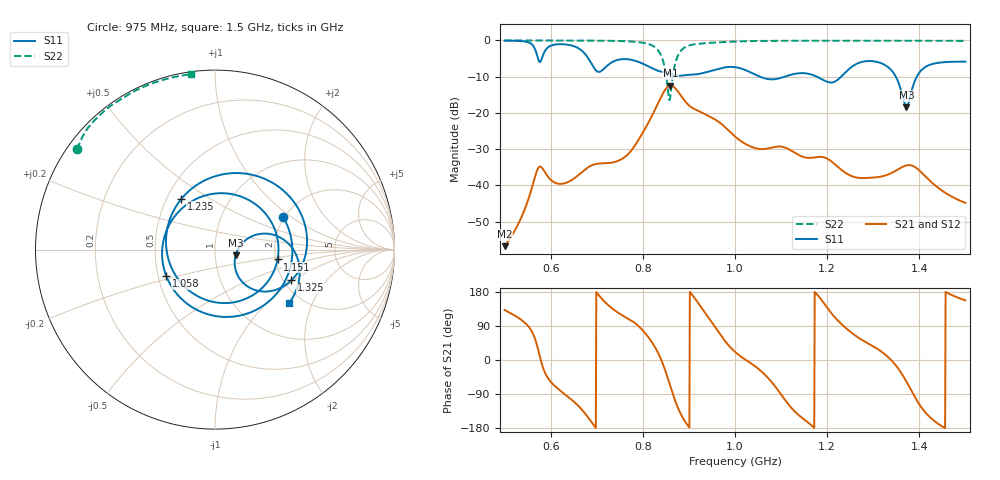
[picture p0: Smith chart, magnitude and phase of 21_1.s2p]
! TOUCHSTONE file generated by CST MICROWAVE STUDIO
! Date and time: Sat Nov 14 20:37:46 2020
! Project name: Scenario_1_Planar_Body_Tissue_Out_of_Line_v2.cst
! Parameters = {dy1=0; L_HA=400; Ltissue=700; MT=2.54; Rad_Dielectric=30; Rad_Lower=7.3; Rad_Upper=30; Wtissue=700; a_HA=580; a_WG=246; b_HA=500; b_WG=121; c_HA=0; c_WG=187; d_feed=85; dx1=173; h_feed=15; h_lower=18; h_upper=40; hfat=3; hgap=25; hmuscle=50; hskin=1.5}
! Header version: 2018
! Port assignment regex: !\s*Touchstone port\s*([0-9]+)\s*=\s*(CST MWS port|CST DS port)\s*([0-9]+|Zmin|Zmax)\s*\(\"(.*)\"\)(\s*mode\s*([0-9]+))?.*
! Touchstone port assignment:
! Touchstone port 1 = CST MWS port 1 ("")
! Touchstone port 2 = CST MWS port 2 ("")
# GHz S DB R 50
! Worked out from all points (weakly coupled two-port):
!   1003 points, 500 MHz to 1.5 GHz, reference 50 ohm
!   highest |S21| = -12.46 dB at 860 MHz (marker M1); lowest = -56.8 dB at 500 MHz (marker M2)
!   lowest |S11| = -18.5 dB at 1.372 GHz (marker M3), VSWR 1.27, Z = 62.8 - j4.07 ohm
!   |S11| at or under -10 dB: 1.054 GHz to 1.108 GHz (54.21 MHz wide, 5.01 % of centre); 1.177 GHz to 1.23 GHz (52.88 MHz wide, 4.39 % of centre); 1.349 GHz to 1.395 GHz (45.65 MHz wide, 3.33 % of centre)
!   |S22| runs from -16.5 to 0.0 dB; largest |S21 - S12| = 5.4e-06
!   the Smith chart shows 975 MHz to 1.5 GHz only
!   S11 on the Smith chart (normalised r, x): 975 MHz: 1.98, +0.87; 1.058 GHz: 0.55, -0.18; 1.151 GHz: 2.05, -0.26; 1.235 GHz: 0.59, +0.38; 1.325 GHz: 2.20, -0.95; 1.5 GHz: 1.71, -1.38
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0.5  -0.04 -121.8  -56.80 132.0  -56.80 132.0  -0.01 151.1
0.575  -5.84 -162.3  -34.93 16.0  -34.93 16.0  -0.02 146.0
0.627  -1.05 172.9  -39.53 -86.7  -39.53 -86.7  -0.03 142.0
0.667  -2.77 108.0  -36.46 -130.1  -36.46 -130.1  -0.04 138.4
0.692  -7.16 23.4  -34.33 -169.4  -34.33 -169.4  -0.06 135.8
0.716  -7.77 -94.0  -33.95 155.0  -33.95 155.0  -0.09 132.9
0.755  -5.17 166.9  -32.69 118.1  -32.69 118.1  -0.19 126.5
0.792  -6.00 97.0  -27.14 87.9  -27.14 87.9  -0.50 116.4
0.834  -8.41 7.3  -17.08 16.4  -17.08 16.4  -2.89 83.2
0.86  -9.15 -62.8  -12.46 -70.8  -12.46 -70.8  -15.18 -81.8
0.89  -9.61 -144.0  -16.51 -159.2  -16.51 -159.2  -2.01 175.6
0.975  -7.51 25.3  -23.55 55.6  -23.55 55.6  -0.45 144.0
1  -7.38 -25.4  -26.53 21.7  -26.53 21.7  -0.30 140.5
1.058  -10.20 -151.4  -30.00 -30.9  -30.00 -30.9  -0.14 133.7
1.106  -10.09 89.0  -29.47 -101.0  -29.47 -101.0  -0.10 129.2
1.151  -9.05 -8.9  -32.27 -157.8  -32.27 -157.8  -0.09 125.3
1.167  -9.47 -42.4  -32.40 -173.5  -32.40 -173.5  -0.10 124.1
1.235  -9.40 123.6  -36.13 90.2  -36.13 90.2  -0.09 119.0
1.325  -6.76 -21.9  -37.33 15.3  -37.33 15.3  -0.08 112.2
1.334  -7.56 -31.2  -36.92 5.6  -36.92 5.6  -0.09 111.5
1.372  -18.47 -15.5  -34.50 -56.9  -34.50 -56.9  -0.09 108.6
1.5  -5.85 -35.8  -44.85 157.3  -44.85 157.3  -0.12 97.9
